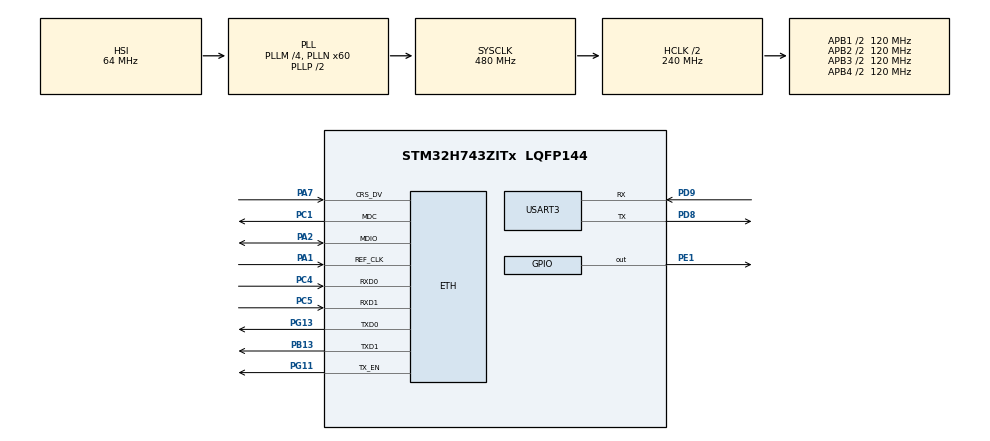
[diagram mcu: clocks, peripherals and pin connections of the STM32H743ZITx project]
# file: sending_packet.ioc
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CORTEX_M7.AccessPermission-Cortex_Memory_Protection_Unit_Region0_Settings=MPU_REGION_FULL_ACCESS
CORTEX_M7.BaseAddress-Cortex_Memory_Protection_Unit_Region0_Settings=0x30000000
CORTEX_M7.CPU_DCache=Enabled
CORTEX_M7.CPU_ICache=Enabled
CORTEX_M7.DisableExec-Cortex_Memory_Protection_Unit_Region0_Settings=MPU_INSTRUCTION_ACCESS_DISABLE
CORTEX_M7.Enable-Cortex_Memory_Protection_Unit_Region0_Settings=MPU_REGION_ENABLE
CORTEX_M7.Enable-Cortex_Memory_Protection_Unit_Region1_Settings=__NULL
CORTEX_M7.IsBufferable-Cortex_Memory_Protection_Unit_Region0_Settings=MPU_ACCESS_NOT_BUFFERABLE
CORTEX_M7.IsShareable-Cortex_Memory_Protection_Unit_Region0_Settings=MPU_ACCESS_SHAREABLE
CORTEX_M7.MPU_Control=MPU_PRIVILEGED_DEFAULT
CORTEX_M7.Size-Cortex_Memory_Protection_Unit_Region0_Settings=MPU_REGION_SIZE_16KB
CORTEX_M7.TypeExtField-Cortex_Memory_Protection_Unit_Region0_Settings=MPU_TEX_LEVEL1
ETH.MediaInterface=HAL_ETH_RMII_MODE
ETH.RxBuffAddress=0x300000C0
ETH.RxDescAddress=0x30000000
ETH.TxDescAddress=0x30000060
FREERTOS.Tasks01=BroadcastTask,24,256,StartBroadcastTask,Default,NULL,Dynamic,NULL,NULL
FREERTOS.configUSE_NEWLIB_REENTRANT=1
Mcu.Family=STM32H7
Mcu.Name=STM32H743ZITx
Mcu.Package=LQFP144
NVIC.ETH_IRQn=true\:5\:0\:false\:false\:true\:true\:true\:true
NVIC.PriorityGroup=NVIC_PRIORITYGROUP_4
NVIC.RCC_IRQn=true\:5\:0\:false\:false\:true\:true\:true\:false
NVIC.TIM1_UP_IRQn=true\:15\:0\:false\:false\:true\:false\:false\:true
NVIC.TimeBase=TIM1_UP_IRQn
NVIC.TimeBaseIP=TIM1
PA1.Mode=RMII
PA1.Signal=ETH_REF_CLK
PA2.Mode=RMII
PA2.Signal=ETH_MDIO
PA7.Mode=RMII
PA7.Signal=ETH_CRS_DV
PB13.Mode=RMII
PB13.Signal=ETH_TXD1
PC1.Mode=RMII
PC1.Signal=ETH_MDC
PC4.Mode=RMII
PC4.Signal=ETH_RXD0
PC5.Mode=RMII
PC5.Signal=ETH_RXD1
PD8.Mode=Asynchronous
PD8.Signal=USART3_TX
PD9.Mode=Asynchronous
PD9.Signal=USART3_RX
PE1.Signal=GPIO_Output
PG11.Mode=RMII
PG11.Signal=ETH_TX_EN
PG13.Mode=RMII
PG13.Signal=ETH_TXD0
ProjectManager.HeapSize=0x200
ProjectManager.StackSize=0x400
ProjectManager.TargetToolchain=STM32CubeIDE
RCC.ADCFreq_Value=129000000
RCC.APB1Freq_Value=120000000
RCC.APB2Freq_Value=120000000
RCC.APB3Freq_Value=120000000
RCC.APB4Freq_Value=120000000
RCC.CortexFreq_Value=480000000
RCC.D1PPRE=RCC_APB3_DIV2
RCC.D2PPRE1=RCC_APB1_DIV2
RCC.D2PPRE2=RCC_APB2_DIV2
RCC.D3PPRE=RCC_APB4_DIV2
RCC.DIVM1=4
RCC.DIVN1=60
RCC.HCLKFreq_Value=240000000
RCC.HPRE=RCC_HCLK_DIV2
RCC.SYSCLKFreq_VALUE=480000000
RCC.SYSCLKSource=RCC_SYSCLKSOURCE_PLLCLK
RCC.USBFreq_Value=480000000
USART3.VirtualMode-Asynchronous=VM_ASYNC
VP_FREERTOS_VS_CMSIS_V2.Mode=CMSIS_V2
VP_SYS_VS_tim1.Mode=TIM1
board=NUCLEO-H743ZI2

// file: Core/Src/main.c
/* USER CODE BEGIN Header */
/**
  ******************************************************************************
  * @file           : main.c
  * @brief          : Main program body
  ******************************************************************************
  * @attention
  *
  * <h2><center>&copy; Copyright (c) 2021 STMicroelectronics.
  * All rights reserved.</center></h2>
  *
  * This software component is licensed by ST under BSD 3-Clause license,
  * the "License"; You may not use this file except in compliance with the
  * License. You may obtain a copy of the License at:
  *                        opensource.org/licenses/BSD-3-Clause
  *
  ******************************************************************************
  */
/* USER CODE END Header */
#include "main.h"
#include "string.h"
#include "cmsis_os.h"

#if defined ( __ICCARM__ ) /*!< IAR Compiler */

#pragma location=0x30000000
ETH_DMADescTypeDef  DMARxDscrTab[ETH_RX_DESC_CNT]; /* Ethernet Rx DMA Descriptors */
#pragma location=0x30000060
ETH_DMADescTypeDef  DMATxDscrTab[ETH_TX_DESC_CNT]; /* Ethernet Tx DMA Descriptors */
#pragma location=0x300000C0
uint8_t Rx_Buff[ETH_RX_DESC_CNT][ETH_MAX_PACKET_SIZE]; /* Ethernet Receive Buffers */

#elif defined ( __CC_ARM )  /* MDK ARM Compiler */

__attribute__((at(0x30000000))) ETH_DMADescTypeDef  DMARxDscrTab[ETH_RX_DESC_CNT]; /* Ethernet Rx DMA Descriptors */
__attribute__((at(0x30000060))) ETH_DMADescTypeDef  DMATxDscrTab[ETH_TX_DESC_CNT]; /* Ethernet Tx DMA Descriptors */
__attribute__((at(0x300000C0))) uint8_t Rx_Buff[ETH_RX_DESC_CNT][ETH_MAX_PACKET_SIZE]; /* Ethernet Receive Buffer */

#elif defined ( __GNUC__ ) /* GNU Compiler */

ETH_DMADescTypeDef DMARxDscrTab[ETH_RX_DESC_CNT] __attribute__((section(".RxDecripSection"))); /* Ethernet Rx DMA Descriptors */
ETH_DMADescTypeDef DMATxDscrTab[ETH_TX_DESC_CNT] __attribute__((section(".TxDecripSection")));   /* Ethernet Tx DMA Descriptors */
uint8_t Rx_Buff[ETH_RX_DESC_CNT][ETH_MAX_PACKET_SIZE] __attribute__((section(".RxArraySection"))); /* Ethernet Receive Buffers */

#endif

ETH_TxPacketConfig TxConfig;

ETH_HandleTypeDef heth;

UART_HandleTypeDef huart3;

/* Definitions for BroadcastTask */
osThreadId_t BroadcastTaskHandle;
const osThreadAttr_t BroadcastTask_attributes = {
  .name = "BroadcastTask",
  .stack_size = 256 * 4,
  .priority = (osPriority_t) osPriorityNormal,
};
/* USER CODE BEGIN PV */
uint8_t Tx_Buff[ETH_TX_DESC_CNT][ETH_MAX_PACKET_SIZE] __attribute__((section(".TxArraySection"))); /* Ethernet Receive Buffers */
/* USER CODE END PV */

void SystemClock_Config(void);
static void MPU_Config(void);
static void MX_GPIO_Init(void);
static void MX_ETH_Init(void);
static void MX_USART3_UART_Init(void);
void StartBroadcastTask(void *argument);

int main(void)
{
  /* USER CODE BEGIN 1 */
	uint8_t buf[22] = {0};
	int i;
	uint32_t reg_val;
  /* USER CODE END 1 */

  /* MPU Configuration--------------------------------------------------------*/
  MPU_Config();

  /* Enable I-Cache---------------------------------------------------------*/
  SCB_EnableICache();

  /* Enable D-Cache---------------------------------------------------------*/
  SCB_EnableDCache();

  /* MCU Configuration--------------------------------------------------------*/

  /* Reset of all peripherals, Initializes the Flash interface and the Systick. */
  HAL_Init();

  /* Configure the system clock */
  SystemClock_Config();

  /* Initialize all configured peripherals */
  MX_GPIO_Init();
  MX_ETH_Init();
  MX_USART3_UART_Init();
  /* USER CODE BEGIN 2 */
  for (i=0;i<32;i++)
   {
     HAL_ETH_ReadPHYRegister(&heth, 0, i, &reg_val);

     sprintf((char*)buf,"reg %02d -> 0x%04x\r\n",i,reg_val);
     HAL_UART_Transmit (&huart3,(char*)buf,strlen(buf),500);
 	}
  /* USER CODE END 2 */

  /* Init scheduler */
  osKernelInitialize();

  /* Create the thread(s) */
  /* creation of BroadcastTask */
  BroadcastTaskHandle = osThreadNew(StartBroadcastTask, NULL, &BroadcastTask_attributes);

  /* Start scheduler */
  osKernelStart();

  /* We should never get here as control is now taken by the scheduler */
  /* Infinite loop */
  while (1)
  {

  }
}

void SystemClock_Config(void)
{
  RCC_OscInitTypeDef RCC_OscInitStruct = {0};
  RCC_ClkInitTypeDef RCC_ClkInitStruct = {0};

  /** Supply configuration update enable
  */
  HAL_PWREx_ConfigSupply(PWR_LDO_SUPPLY);
  /** Configure the main internal regulator output voltage
  */
  __HAL_PWR_VOLTAGESCALING_CONFIG(PWR_REGULATOR_VOLTAGE_SCALE0);

  while(!__HAL_PWR_GET_FLAG(PWR_FLAG_VOSRDY)) {}
  /** Initializes the RCC Oscillators according to the specified parameters
  * in the RCC_OscInitTypeDef structure.
  */
  RCC_OscInitStruct.OscillatorType = RCC_OSCILLATORTYPE_HSI;
  RCC_OscInitStruct.HSIState = RCC_HSI_DIV1;
  RCC_OscInitStruct.HSICalibrationValue = RCC_HSICALIBRATION_DEFAULT;
  RCC_OscInitStruct.PLL.PLLState = RCC_PLL_ON;
  RCC_OscInitStruct.PLL.PLLSource = RCC_PLLSOURCE_HSI;
  RCC_OscInitStruct.PLL.PLLM = 4;
  RCC_OscInitStruct.PLL.PLLN = 60;
  RCC_OscInitStruct.PLL.PLLP = 2;
  RCC_OscInitStruct.PLL.PLLQ = 2;
  RCC_OscInitStruct.PLL.PLLR = 2;
  RCC_OscInitStruct.PLL.PLLRGE = RCC_PLL1VCIRANGE_3;
  RCC_OscInitStruct.PLL.PLLVCOSEL = RCC_PLL1VCOWIDE;
  RCC_OscInitStruct.PLL.PLLFRACN = 0;
  if (HAL_RCC_OscConfig(&RCC_OscInitStruct) != HAL_OK)
  {
    Error_Handler();
  }
  /** Initializes the CPU, AHB and APB buses clocks
  */
  RCC_ClkInitStruct.ClockType = RCC_CLOCKTYPE_HCLK|RCC_CLOCKTYPE_SYSCLK
                              |RCC_CLOCKTYPE_PCLK1|RCC_CLOCKTYPE_PCLK2
                              |RCC_CLOCKTYPE_D3PCLK1|RCC_CLOCKTYPE_D1PCLK1;
  RCC_ClkInitStruct.SYSCLKSource = RCC_SYSCLKSOURCE_PLLCLK;
  RCC_ClkInitStruct.SYSCLKDivider = RCC_SYSCLK_DIV1;
  RCC_ClkInitStruct.AHBCLKDivider = RCC_HCLK_DIV2;
  RCC_ClkInitStruct.APB3CLKDivider = RCC_APB3_DIV2;
  RCC_ClkInitStruct.APB1CLKDivider = RCC_APB1_DIV2;
  RCC_ClkInitStruct.APB2CLKDivider = RCC_APB2_DIV2;
  RCC_ClkInitStruct.APB4CLKDivider = RCC_APB4_DIV2;

  if (HAL_RCC_ClockConfig(&RCC_ClkInitStruct, FLASH_LATENCY_4) != HAL_OK)
  {
    Error_Handler();
  }
}

static void MX_ETH_Init(void)
{

   static uint8_t MACAddr[6];

  heth.Instance = ETH;
  MACAddr[0] = 0x00;
  MACAddr[1] = 0x80;
  MACAddr[2] = 0xE1;
  MACAddr[3] = 0x00;
  MACAddr[4] = 0x00;
  MACAddr[5] = 0x00;
  heth.Init.MACAddr = &MACAddr[0];
  heth.Init.MediaInterface = HAL_ETH_RMII_MODE;
  heth.Init.TxDesc = DMATxDscrTab;
  heth.Init.RxDesc = DMARxDscrTab;
  heth.Init.RxBuffLen = 1524;

  if (HAL_ETH_Init(&heth) != HAL_OK)
  {
    Error_Handler();
  }

  memset(&TxConfig, 0 , sizeof(ETH_TxPacketConfig));
  TxConfig.Attributes = ETH_TX_PACKETS_FEATURES_CSUM | ETH_TX_PACKETS_FEATURES_CRCPAD;
  TxConfig.ChecksumCtrl = ETH_CHECKSUM_IPHDR_PAYLOAD_INSERT_PHDR_CALC;
  TxConfig.CRCPadCtrl = ETH_CRC_PAD_INSERT;

}

static void MX_USART3_UART_Init(void)
{

  huart3.Instance = USART3;
  huart3.Init.BaudRate = 115200;
  huart3.Init.WordLength = UART_WORDLENGTH_8B;
  huart3.Init.StopBits = UART_STOPBITS_1;
  huart3.Init.Parity = UART_PARITY_NONE;
  huart3.Init.Mode = UART_MODE_TX_RX;
  huart3.Init.HwFlowCtl = UART_HWCONTROL_NONE;
  huart3.Init.OverSampling = UART_OVERSAMPLING_16;
  huart3.Init.OneBitSampling = UART_ONE_BIT_SAMPLE_DISABLE;
  huart3.Init.ClockPrescaler = UART_PRESCALER_DIV1;
  huart3.AdvancedInit.AdvFeatureInit = UART_ADVFEATURE_NO_INIT;
  if (HAL_UART_Init(&huart3) != HAL_OK)
  {
    Error_Handler();
  }
  if (HAL_UARTEx_SetTxFifoThreshold(&huart3, UART_TXFIFO_THRESHOLD_1_8) != HAL_OK)
  {
    Error_Handler();
  }
  if (HAL_UARTEx_SetRxFifoThreshold(&huart3, UART_RXFIFO_THRESHOLD_1_8) != HAL_OK)
  {
    Error_Handler();
  }
  if (HAL_UARTEx_DisableFifoMode(&huart3) != HAL_OK)
  {
    Error_Handler();
  }

}

static void MX_GPIO_Init(void)
{
  GPIO_InitTypeDef GPIO_InitStruct = {0};

  /* GPIO Ports Clock Enable */
  __HAL_RCC_GPIOC_CLK_ENABLE();
  __HAL_RCC_GPIOA_CLK_ENABLE();
  __HAL_RCC_GPIOB_CLK_ENABLE();
  __HAL_RCC_GPIOD_CLK_ENABLE();
  __HAL_RCC_GPIOG_CLK_ENABLE();
  __HAL_RCC_GPIOE_CLK_ENABLE();

  /*Configure GPIO pin Output Level */
  HAL_GPIO_WritePin(GPIOE, GPIO_PIN_1, GPIO_PIN_RESET);

  /*Configure GPIO pin : PE1 */
  GPIO_InitStruct.Pin = GPIO_PIN_1;
  GPIO_InitStruct.Mode = GPIO_MODE_OUTPUT_PP;
  GPIO_InitStruct.Pull = GPIO_NOPULL;
  GPIO_InitStruct.Speed = GPIO_SPEED_FREQ_LOW;
  HAL_GPIO_Init(GPIOE, &GPIO_InitStruct);

}

void StartBroadcastTask(void *argument)
{
  /* USER CODE BEGIN 5 */
	ETH_BufferTypeDef buffer1;
	HAL_StatusTypeDef ret;

	HAL_ETH_Start(&heth);

//	static uint8_t MACAddr[6];
//
//  MACAddr[0] = 0x00;
//  MACAddr[1] = 0x80;
//  MACAddr[2] = 0xE1;
//  MACAddr[3] = 0x00;
//  MACAddr[4] = 0x00;
//  MACAddr[5] = 0x00;

	memset(&Tx_Buff[0][0], 0xFF, 6);
	memcpy(&Tx_Buff[0][6], heth.Init.MACAddr, 6);
	//memcpy(&Tx_Buff[6], &MACAddr[0], 6);

//	Tx_Buff[0][12] = 0x08;
//	Tx_Buff[0][13] = 0x00;

	Tx_Buff[0][12] = 0x08;
	Tx_Buff[0][13] = 0x00;

	strcpy((char *)&Tx_Buff[0][14], "MY_TEST_PACKET (MAC frame)");

	buffer1.buffer = Tx_Buff[0];
	buffer1.len = 14 + strlen("MY_TEST_PACKET (MAC frame)");
	buffer1.next = NULL;

	// set pointer to ethernet buffer
	TxConfig.Length = buffer1.len;
	TxConfig.TxBuffer = &buffer1;

  /* Infinite loop */
  for(;;)
  {
  	ret = HAL_ETH_Transmit (&heth, &TxConfig,HAL_MAX_DELAY);
	  HAL_GPIO_TogglePin(GPIOE,GPIO_PIN_1);
    osDelay(1000);
  }
  /* USER CODE END 5 */
}

/* MPU Configuration */

void MPU_Config(void)
{
  MPU_Region_InitTypeDef MPU_InitStruct = {0};

  /* Disables the MPU */
  HAL_MPU_Disable();
  /** Initializes and configures the Region and the memory to be protected
  */
  MPU_InitStruct.Enable = MPU_REGION_ENABLE;
  MPU_InitStruct.Number = MPU_REGION_NUMBER0;
  MPU_InitStruct.BaseAddress = 0x30000000;
  MPU_InitStruct.Size = MPU_REGION_SIZE_16KB;
  MPU_InitStruct.SubRegionDisable = 0x0;
  MPU_InitStruct.TypeExtField = MPU_TEX_LEVEL1;
  MPU_InitStruct.AccessPermission = MPU_REGION_FULL_ACCESS;
  MPU_InitStruct.DisableExec = MPU_INSTRUCTION_ACCESS_DISABLE;
  MPU_InitStruct.IsShareable = MPU_ACCESS_SHAREABLE;
  MPU_InitStruct.IsCacheable = MPU_ACCESS_NOT_CACHEABLE;
  MPU_InitStruct.IsBufferable = MPU_ACCESS_NOT_BUFFERABLE;

  HAL_MPU_ConfigRegion(&MPU_InitStruct);
  /* Enables the MPU */
  HAL_MPU_Enable(MPU_PRIVILEGED_DEFAULT);

}

void HAL_TIM_PeriodElapsedCallback(TIM_HandleTypeDef *htim)
{
  if (htim->Instance == TIM1) {
    HAL_IncTick();
  }
}

void Error_Handler(void)
{
  __disable_irq();
  while (1)
  {
  }
}

/************************ (C) COPYRIGHT STMicroelectronics *****END OF FILE****/
